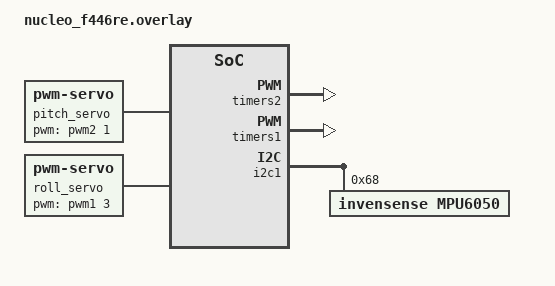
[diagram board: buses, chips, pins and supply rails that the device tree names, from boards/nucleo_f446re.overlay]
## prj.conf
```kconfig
CONFIG_GPIO=y
CONFIG_I2C=y
CONFIG_CBPRINTF_FP_SUPPORT=y
CONFIG_NEWLIB_LIBC=y
CONFIG_NEWLIB_LIBC_NANO=n

CONFIG_PWM=y
CONFIG_PRINTK=y
CONFIG_STDOUT_CONSOLE=y
```

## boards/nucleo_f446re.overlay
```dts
/ {
     pitch_servo: td8210mg1 {
          compatible = "pwm-servo";
          pwms = <&pwm2 1 PWM_MSEC(20) PWM_POLARITY_NORMAL>;
          min-pulse = <PWM_USEC(500)>;
          max-pulse = <PWM_USEC(2500)>;
     };

     roll_servo: td8210mg2 {
          compatible = "pwm-servo";
          pwms = <&pwm1 3 PWM_MSEC(20) PWM_POLARITY_NORMAL>;
          min-pulse = <PWM_USEC(500)>;
          max-pulse = <PWM_USEC(2500)>;
     };

};

&timers2{
    st,prescaler = <100>;
    status = "okay";

    pwm2: pwm {
          status = "okay";
          pinctrl-0 = <&tim2_ch1_pa5>;
          pinctrl-names = "default";
     };
};

&timers1{
     st,prescaler = <100>;
     status = "okay";

     pwm1: pwm {
          status = "okay";
          pinctrl-0 = <&tim1_ch3_pa10>;
          pinctrl-names = "default";
     };
};

&i2c1 {
     imu: mpu6050@68 {
             compatible = "invensense,mpu6050";
             label = "mpu6050";
             reg = <0x68>;
     };
};
```

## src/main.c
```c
/*
 * Copyright (c) 2016 Intel Corporation
 *
 * SPDX-License-Identifier: Apache-2.0
 */

/*
Arduino code, adapted for zephyr: https://mschoeffler.com/2017/10/05/tutorial-how-to-use-the-gy-521-module-mpu-6050-breakout-board-with-the-arduino-uno/
Following tutorial from here: https://academy.nordicsemi.com/topic/i2c-driver/
For complementary filter: https://www.hackster.io/hibit/complementary-filter-and-relative-orientation-with-mpu9250-d4f79d#toc-gyroscope-angles-3
Register map: https://invensense.tdk.com/wp-content/uploads/2015/02/MPU-6000-Register-Map1.pdf
Datasheet: https://invensense.tdk.com/wp-content/uploads/2015/02/MPU-6000-Datasheet1.pdf
*/

#include <zephyr/kernel.h>
#include <zephyr/drivers/gpio.h>
#include <zephyr/drivers/i2c.h>

#include <stdlib.h>

#include "kalmanfilter.h"
#include "complementaryfilter.h"
#include "servos.h"
#include "pid.h"

/* The devicetree node identifier for the MPU6050 imu */
#define I2C0_NODE DT_NODELABEL(imu)

//define MPU6050_TEMP_HIGH_REG 0x41
//define MPU6050_TEMP_LOW_REG 0x42
#define MPU6050_PWR_REG 0x6B
#define MPU6050_GYRO_CONFIG 0x1B
#define MPU6050_ACCEL_CONFIG 0x1C
#define LOW_PASS_FILTER_CONFIG 0x1A

#define tempLowRegister 0x42
#define tempHighRegister 0x41

#define gyroXHighRegister 0x43
#define gyroXLowRegister 0x44
#define gyroYHighRegister 0x45
#define gyroYLowRegister 0x46
#define gyroZHighRegister 0x47
#define gyroZLowRegister 0x48

#define accelXHighRegister 0x3B

static const struct i2c_dt_spec dev_i2c = I2C_DT_SPEC_GET(I2C0_NODE);

static float offsets[] = {1.33426739, -0.54700182, -0.77473574,  0.15876233,  1.22315467, 1.37050595};

int main(void)
{
	int ret;

	if (!device_is_ready(dev_i2c.bus)) {
		printk("I2C bus %s is not ready!\n\r",dev_i2c.bus->name);
		return 1;
	}

	//Configure
	uint8_t pwr[2] = {MPU6050_PWR_REG,0x0};
	ret = i2c_write_dt(&dev_i2c, pwr, sizeof(pwr));
	if(ret != 0){
		printk("Failed to write to I2C device address %x at Reg. %x \n", dev_i2c.addr,pwr[0]);
		return 0;
	}

	int8_t temp[2];
	int8_t gyro_reading[6];
	int8_t accel_reading[6];
	//uint8_t sensor_regs[2] ={MPU6050_TEMP_LOW_REG,MPU6050_TEMP_HIGH_REG};

	int success = 1;

	float trueTemp, trueTempF;
	float gyroX, gyroY, gyroZ, accelX, accelY, accelZ;

	//Write to address 1B to configure gyroscope
	uint8_t config[2] = {MPU6050_GYRO_CONFIG,0x6};
	ret = i2c_write_dt(&dev_i2c, config, sizeof(config));
	if(ret != 0){
		printk("Failed to write to I2C device address %x at Reg. %x \n", dev_i2c.addr,config[0]);
		return 0;
	}

	//Change config over to accel
	config[0] = MPU6050_ACCEL_CONFIG;
	ret = i2c_write_dt(&dev_i2c, config, sizeof(config));
	if(ret != 0){
		printk("Failed to write to I2C device address %x at Reg. %x \n", dev_i2c.addr,config[0]);
		return 0;
	}

	//Enable digital low pass filter (random setting idk, page 13 of register map)
	config[0] = LOW_PASS_FILTER_CONFIG;
	config[1] = 0x6;
	ret = i2c_write_dt(&dev_i2c, config, sizeof(config));
	if(ret != 0){
		printk("Failed to write to I2C device address %x at Reg. %x \n", dev_i2c.addr,config[0]);
		return 0;
	}

	int64_t current_time;
	int64_t prev_time = k_uptime_get();
	int64_t last_time = k_uptime_get();

	double pitch = 0;
	double roll = 0;

	float** P;
	initialize(&P, 4, 4);
	identity(P, 4);

	float** state_estimate;
	initialize(&state_estimate, 4, 1);

	float pidRollMotorOutput, pidPitchMotorOutput;

	double dt;
	int count = 0;

	setup_roll_servo();
	setup_pitch_servo();
	setupKalmanFilter();

	float pw1, pw2;

	while (1) {
		success = 1;
		ret = i2c_burst_read_dt(&dev_i2c, tempHighRegister, temp, sizeof(temp));
		if(ret != 0){
			printk("Failed to write/read I2C device address %x at Reg. %x \r\n", dev_i2c.addr, tempHighRegister);
			success = 0;
		}
		trueTemp = (float) (temp[0] * 256 + temp[1]) / 340 + 36.53;
		trueTempF = 1.8 * trueTemp + 32;

		ret = i2c_burst_read_dt(&dev_i2c, gyroXHighRegister, gyro_reading, sizeof(gyro_reading));
		if(ret != 0){
			printk("Failed to write/read I2C device address %x at Reg. %x \r\n", dev_i2c.addr, gyroXHighRegister);
			success = 0;
		}
		ret = i2c_burst_read_dt(&dev_i2c, accelXHighRegister, accel_reading, sizeof(accel_reading));
		if(ret != 0){
			printk("Failed to write/read I2C device address %x at Reg. %x \r\n", dev_i2c.addr, accelXHighRegister);
			success = 0;
		}

		gyroX = (float) gyro_reading[0] * 256 + gyro_reading[1];
		gyroY = (float) gyro_reading[2] * 256 + gyro_reading[3];
		gyroZ = (float) gyro_reading[4] * 256 + gyro_reading[5];

		gyroX /= 131;
		gyroY /= 131;
		gyroZ /= 131;

		accelX = (float) accel_reading[0] * 256 + accel_reading[1];
		accelY = (float) accel_reading[2] * 256 + accel_reading[3];
		accelZ = (float) accel_reading[4] * 256 + accel_reading[5];

		accelX /= 16384;
		accelY /= 16384;
		accelZ /= 16384;

		accelX *= g;
		accelY *= g;
		accelZ *= g;

		gyroX += offsets[0];
		gyroY += offsets[1];
		gyroZ += offsets[2];
		accelX += offsets[3];
		accelY += offsets[4];
		accelZ += offsets[5];

		gyroX *= PI / 180.;
		gyroY *= PI / 180.;
		gyroZ *= PI / 180.;

		//Round all to nearest 2 decimal places
		accelX = roundf(accelX * 100) / 100;
		accelY = roundf(accelY * 100) / 100;
		accelZ = roundf(accelZ * 100) / 100;

		gyroX = roundf(gyroX * 100) / 100;
		gyroY = roundf(gyroY * 100) / 100;
		gyroZ = roundf(gyroZ * 100) / 100;

		//printk("started!\n");
		if(success){
			//printk("Angular velocity:\nX: %f\nY: %f\nZ: %f\nAcceleration:\nX: %f\nY: %f\nZ: %f\nFahrenheit: %f; Celsius: %f; %d %d\n", gyroX, gyroY, gyroZ, accelX, accelY, accelZ, trueTempF, trueTemp, temp[0], temp[1]);
			current_time = k_uptime_get();
			dt = (double) (current_time - prev_time) / 1000;
			prev_time = current_time;

			estimate(gyroX, gyroY, gyroZ, accelX, accelY, accelZ, &roll, &pitch, dt, P, state_estimate, count);

			pidRollMotorOutput = pidRoll(roll * 180 / PI, dt);
			pidPitchMotorOutput = pidPitch(pitch * 180 / PI, dt);

			pw1 = move_roll_servo(pidRollMotorOutput);
			pw2 = move_pitch_servo(-pidPitchMotorOutput);

			//printk("%d\n", success);
			if(current_time - last_time > 500){
				printk("Roll: %.1lf | Pitch: %.1lf | PID roll output: %.2f | Roll pulse width: %.1f | PID pitch output: %.2f | Pitch pulse width: %.1f\n", roll * 180 / PI, pitch * 180 / PI, pidRollMotorOutput, pw1, pidPitchMotorOutput, pw2);
				last_time = current_time;
			}
		}
		//k_msleep(500);
	}
	return 0;
}
```

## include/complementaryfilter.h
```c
#include "helpermath.h"

double predictPitchAccel(float ax, float ay, float az);

double predictRollAccel(float ax, float ay, float az);

double calculatePitchRate(double pitch, double roll, float gyroX, float gyroY, float gyroZ);

double calculateRollRate(double pitch, double roll, float gyroX, float gyroY, float gyroZ);

double calculatePitch(float gyroX, float gyroY, float gyroZ, float accelX, float accelY, float accelZ, double pitch, double roll, double dt);

double calculateRoll(float gyroX, float gyroY, float gyroZ, float accelX, float accelY, float accelZ, double pitch, double roll, double dt);
```

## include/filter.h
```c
/*
 * filter.h
 *
 * Copyright (c) 2018 Disi A
 * 
 * Author: Disi A
 * Email: adis@live.cn
 *  https://www.mathworks.com/matlabcentral/profile/authors/3734620-disi-a
 */
#include "helpermath.h"

#ifndef filter_h
#define filter_h

#if __cplusplus
extern "C"{
#endif

#define DOUBLE_PRECISION 1

#if DOUBLE_PRECISION
#define FTR_PRECISION double
#if defined(_WIN32) || defined(__ZEPHYR__)
#define M_PI 3.141592653589793238462643383279502884197163993751
#endif
#else
#define FTR_PRECISION float
#if defined(_WIN32) || defined(__ZEPHYR__)
#define M_PI 3.1415927f
#endif
#endif

typedef struct {
    int n;
	FTR_PRECISION *A;
    FTR_PRECISION *d1;
    FTR_PRECISION *d2;
    FTR_PRECISION *w0;
    FTR_PRECISION *w1;
    FTR_PRECISION *w2;
} BWLowPass;
// BWHighPass uses exactly the same struct
typedef BWLowPass BWHighPass;

typedef struct {
    int n;
	FTR_PRECISION *A;
    FTR_PRECISION *d1;
    FTR_PRECISION *d2;
    FTR_PRECISION *d3;
    FTR_PRECISION *d4;
    FTR_PRECISION *w0;
    FTR_PRECISION *w1;
    FTR_PRECISION *w2;
    FTR_PRECISION *w3;
    FTR_PRECISION *w4;
} BWBandPass;

typedef struct {
    int n;
    FTR_PRECISION r;
    FTR_PRECISION s;
	FTR_PRECISION *A;
    FTR_PRECISION *d1;
    FTR_PRECISION *d2;
    FTR_PRECISION *d3;
    FTR_PRECISION *d4;
    FTR_PRECISION *w0;
    FTR_PRECISION *w1;
    FTR_PRECISION *w2;
    FTR_PRECISION *w3;
    FTR_PRECISION *w4;
} BWBandStop;


BWLowPass* create_bw_low_pass_filter(int order, FTR_PRECISION sampling_frequency, FTR_PRECISION half_power_frequency);
BWHighPass* create_bw_high_pass_filter(int order, FTR_PRECISION sampling_frequency, FTR_PRECISION half_power_frequency);
BWBandPass* create_bw_band_pass_filter(int order, FTR_PRECISION sampling_frequency, FTR_PRECISION lower_half_power_frequency, FTR_PRECISION upper_half_power_frequency);
BWBandStop* create_bw_band_stop_filter(int order, FTR_PRECISION sampling_frequency, FTR_PRECISION lower_half_power_frequency, FTR_PRECISION upper_half_power_frequency);

void free_bw_low_pass(BWLowPass* filter);
void free_bw_high_pass(BWHighPass* filter);
void free_bw_band_pass(BWBandPass* filter);
void free_bw_band_stop(BWBandStop* filter);

FTR_PRECISION bw_low_pass(BWLowPass* filter, FTR_PRECISION input);
FTR_PRECISION bw_high_pass(BWHighPass* filter, FTR_PRECISION input);
FTR_PRECISION bw_band_pass(BWBandPass* filter, FTR_PRECISION input);
FTR_PRECISION bw_band_stop(BWBandStop* filter, FTR_PRECISION input);

FTR_PRECISION softmax(FTR_PRECISION* data, int size, int target_ind);

// Output should be pre-allocated which has the same(or larger) size as the input.
void spike_filter_upward(FTR_PRECISION * input, int size, FTR_PRECISION * output, FTR_PRECISION strength);

#if __cplusplus
}
#endif

#endif /* filter_h */
```

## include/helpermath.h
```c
#include <stdlib.h>
#include <math.h>

#define alpha 0.1
#define PI 3.141592653589
#define g 9.81

float calculateSin(float angle);

float calculateCos(float angle);

float calculateTangent(float angle);

float roundFloat(float i, int place);
```

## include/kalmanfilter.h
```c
#include "matrix.h"
#include "complementaryfilter.h"

struct attitude{
	float pitch;
	float roll;
};

void estimate (float gyroX, float gyroY, float gyroZ, float accelX, float accelY, float accelZ, double* roll, double* pitch, double dt, float** P, float** state_estimate, int count);

void setupKalmanFilter();
```

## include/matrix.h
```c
#include <stdbool.h>

#include "helpermath.h"

void initialize(float*** matrix, int height, int width);

void identity(float** matrix, int dim);

void addMatrices(float** matrix1, float** matrix2, int height, int width, bool positive);

bool dotProduct(float** resultant, float** matrix1, int height1, int width1, float** matrix2, int height2, int width2);

void transpose(float** resultant, float** matrix, int height, int width);

void printMatrix(float** matrix, int height, int width);

void inverse2X2(float** matrix, float** resultant);

void zero(float** matrix, int height, int width);

void copy(float** matrix1, float** matrix2, int height, int width);
```

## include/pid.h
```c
float pidPitch(float current, double dT);

float pidRoll(float current, double dT);
```

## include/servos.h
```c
#include <zephyr/kernel.h>
#include <zephyr/sys/printk.h>
#include <zephyr/device.h>
#include <zephyr/drivers/pwm.h>


void setup_roll_servo();
void setup_pitch_servo();

float move_roll_servo(float PID_output);
float move_pitch_servo(float PID_output);
```

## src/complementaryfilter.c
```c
//Taken from this video: https://www.youtube.com/watch?v=BUW2OdAtzBw
//And this tutorial: https://www.hackster.io/hibit/complementary-filter-and-relative-orientation-with-mpu9250-d4f79d
#include "complementaryfilter.h"

double predictPitchAccel(float ax, float ay, float az){
	//double pitch = atan2(ax, g);
	double magnitude = sqrt( pow( ax, 2 ) + pow( az, 2 ) );
	double pitch = atan2(ay, magnitude);
	return pitch;
}

double predictRollAccel(float ax, float ay, float az){
	//double roll = atan2(ay, az);
	double magnitude = sqrt( pow( ay, 2 ) + pow( az, 2 ) );
	double roll = atan2(-ax, magnitude);
	return roll;
}

double calculateRollRate(double pitch, double roll, float gyroX, float gyroY, float gyroZ){
	double a = 1;
	double b = calculateSin(roll) * calculateTangent(pitch);
	double c = calculateCos(roll) * calculateTangent(pitch);

	double rollRate = a * gyroX + b * gyroY + c * gyroZ;
	return rollRate;
}

double calculatePitchRate(double pitch, double roll, float gyroX, float gyroY, float gyroZ){
	//double a = 0;
	double b = calculateCos(roll);
	double c = -calculateSin(roll);

	//double pitchRate = a * gyroX + b * gyroY + c * gyroZ;
	double pitchRate = b * gyroY + c * gyroZ;
	return pitchRate;
}

double calculateRoll(float gyroX, float gyroY, float gyroZ, float accelX, float accelY, float accelZ, double pitch, double roll, double dt){
	double accelRoll = predictRollAccel(accelX, accelY, accelZ);
	double rollRate = calculateRollRate(pitch, roll, gyroX, gyroY, gyroZ);
	roll = alpha * accelRoll + (1 - alpha) * (roll + dt * rollRate);
	
	return roll;
}

double calculatePitch(float gyroX, float gyroY, float gyroZ, float accelX, float accelY, float accelZ, double pitch, double roll, double dt){
	double accelPitch = predictPitchAccel(accelX, accelY, accelZ);
	double pitchRate = calculatePitchRate(pitch, roll, gyroX, gyroY, gyroZ);
	pitch = alpha * accelPitch + (1 - alpha) * (pitch + dt * pitchRate);
	
	return pitch;
}
```

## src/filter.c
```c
/*
 * filter.c
 *
 * Copyright (c) 2018 Disi A
 * 
 * Author: Disi A
 * Email: adis@live.cn
 *  https://www.mathworks.com/matlabcentral/profile/authors/3734620-disi-a
 */
#include <stdlib.h>
#include <stdio.h>
#include <string.h>
#include "filter.h"
#include <stddef.h>

#if DOUBLE_PRECISION
#define COS cos
#define SIN sin
#define TAN tan
#define SQRT sqrt
#define LOG log
#else
#define COS cosf
#define SIN sinf
#define TAN tanf
#define SQRT sqrtf
#define LOG logf
#endif

BWLowPass* create_bw_low_pass_filter(int order, FTR_PRECISION s, FTR_PRECISION f) {
    BWLowPass* filter = (BWLowPass *) malloc(sizeof(BWLowPass));
    filter -> n = order/2;
    filter -> A = (FTR_PRECISION *)malloc(filter -> n*sizeof(FTR_PRECISION));
    filter -> d1 = (FTR_PRECISION *)malloc(filter -> n*sizeof(FTR_PRECISION));
    filter -> d2 = (FTR_PRECISION *)malloc(filter -> n*sizeof(FTR_PRECISION));
    filter -> w0 = (FTR_PRECISION *)calloc(filter -> n, sizeof(FTR_PRECISION));
    filter -> w1 = (FTR_PRECISION *)calloc(filter -> n, sizeof(FTR_PRECISION));
    filter -> w2 = (FTR_PRECISION *)calloc(filter -> n, sizeof(FTR_PRECISION));
    
    if (filter->d2 == NULL)
    {
        free_bw_low_pass(filter);
        return NULL;
    }

    FTR_PRECISION a = calculateTangent((FTR_PRECISION)(M_PI * f / s));
    FTR_PRECISION a2 = a * a;
    FTR_PRECISION r;
    
    int i;
    
    for(i=0; i < filter -> n; ++i){
        r = calculateSin((FTR_PRECISION)(M_PI * (2.0 * i + 1.0) / (4.0 * filter->n)));
        s = (FTR_PRECISION) (a2 + 2.0 * a * r + 1.0);
        filter->A[i] = a2 / s;
        filter->d1[i] = (FTR_PRECISION) (2.0 * (1 - a2) / s);
        filter->d2[i] = (FTR_PRECISION)(-(a2 - 2.0 * a * r + 1.0) / s);
    }
    return filter;
}

BWHighPass* create_bw_high_pass_filter(int order, FTR_PRECISION s, FTR_PRECISION f){
    BWHighPass* filter = (BWHighPass *) malloc(sizeof(BWHighPass));
    filter -> n = order/2;
    filter -> A = (FTR_PRECISION *)malloc(filter -> n*sizeof(FTR_PRECISION));
    filter -> d1 = (FTR_PRECISION *)malloc(filter -> n*sizeof(FTR_PRECISION));
    filter -> d2 = (FTR_PRECISION *)malloc(filter -> n*sizeof(FTR_PRECISION));
    filter -> w0 = (FTR_PRECISION *)calloc(filter -> n, sizeof(FTR_PRECISION));
    filter -> w1 = (FTR_PRECISION *)calloc(filter -> n, sizeof(FTR_PRECISION));
    filter -> w2 = (FTR_PRECISION *)calloc(filter -> n, sizeof(FTR_PRECISION));

    if (filter->d2 == NULL)
    {
        free_bw_high_pass(filter);
        return NULL;
    }

    FTR_PRECISION a = calculateTangent((FTR_PRECISION) (M_PI * f/s));
    FTR_PRECISION a2 = a * a;
    FTR_PRECISION r;
    
    int i;

    for(i=0; i < filter -> n; ++i){
        r = calculateSin((FTR_PRECISION)(M_PI * (2.0 * i + 1.0) / ( 4.0 * filter->n)));
        s = (FTR_PRECISION) (a2 + 2.0 * a * r + 1.0);
        filter -> A[i] = (FTR_PRECISION) (1.0 / s);
        filter -> d1[i] = (FTR_PRECISION) (2.0 * (1 - a2) / s);
        filter -> d2[i] = (FTR_PRECISION) (- (a2 - 2.0 * a * r + 1.0) / s);
    }
    return filter;
}

BWBandPass* create_bw_band_pass_filter(int order, FTR_PRECISION s, FTR_PRECISION fl, FTR_PRECISION fu){
    if(fu <= fl){
        printf("ERROR:Lower half-power frequency is smaller than higher half-power frequency");
        return NULL;
    }
    BWBandPass* filter = (BWBandPass *) malloc(sizeof(BWBandPass));
    filter -> n = order/4;
    filter -> A = (FTR_PRECISION *)malloc(filter -> n*sizeof(FTR_PRECISION));
    filter -> d1 = (FTR_PRECISION *)malloc(filter -> n*sizeof(FTR_PRECISION));
    filter -> d2 = (FTR_PRECISION *)malloc(filter -> n*sizeof(FTR_PRECISION));
    filter -> d3 = (FTR_PRECISION *)malloc(filter -> n*sizeof(FTR_PRECISION));
    filter -> d4 = (FTR_PRECISION *)malloc(filter -> n*sizeof(FTR_PRECISION));

    filter -> w0 = (FTR_PRECISION *)calloc(filter -> n, sizeof(FTR_PRECISION));
    filter -> w1 = (FTR_PRECISION *)calloc(filter -> n, sizeof(FTR_PRECISION));
    filter -> w2 = (FTR_PRECISION *)calloc(filter -> n, sizeof(FTR_PRECISION));
    filter -> w3 = (FTR_PRECISION *)calloc(filter -> n, sizeof(FTR_PRECISION));
    filter -> w4 = (FTR_PRECISION *)calloc(filter -> n, sizeof(FTR_PRECISION));

  
    FTR_PRECISION a = calculateCos(M_PI*(fu+fl)/s)/calculateCos(M_PI*(fu-fl)/s);
    FTR_PRECISION a2 = a*a;
    FTR_PRECISION b = calculateTangent(M_PI*(fu-fl)/s);
    FTR_PRECISION b2 = b*b;
    FTR_PRECISION r;
    int i;
    for(i=0; i<filter->n; ++i){
        r = calculateSin( (FTR_PRECISION) (M_PI * (2.0 * i + 1.0) / (4.0 * filter->n)));
        s = (FTR_PRECISION)(b2 + 2.0 * b * r + 1.0);
        filter->A[i] = b2/s;
        filter->d1[i] = (FTR_PRECISION) (4.0 * a * (1.0 + b * r) / s);
        filter->d2[i] = (FTR_PRECISION) (2.0 * (b2 - 2.0 * a2 - 1.0)/ s);
        filter->d3[i] = (FTR_PRECISION) (4.0 * a * (1.0 - b * r ) / s);
        filter->d4[i] = (FTR_PRECISION) (- (b2 - 2.0 * b * r + 1.0) / s);
    }
    return filter;
}

BWBandStop* create_bw_band_stop_filter(int order, FTR_PRECISION s, FTR_PRECISION fl, FTR_PRECISION fu){
    if(fu <= fl){
        printf("ERROR:Lower half-power frequency is smaller than higher half-power frequency");
        return NULL;
    }

    BWBandStop* filter = (BWBandStop *) malloc(sizeof(BWBandStop));
    filter -> n = order/4;
    filter -> A = (FTR_PRECISION *)malloc(filter -> n*sizeof(FTR_PRECISION));
    filter -> d1 = (FTR_PRECISION *)malloc(filter -> n*sizeof(FTR_PRECISION));
    filter -> d2 = (FTR_PRECISION *)malloc(filter -> n*sizeof(FTR_PRECISION));
    filter -> d3 = (FTR_PRECISION *)malloc(filter -> n*sizeof(FTR_PRECISION));
    filter -> d4 = (FTR_PRECISION *)malloc(filter -> n*sizeof(FTR_PRECISION));

    filter -> w0 = (FTR_PRECISION *)calloc(filter -> n, sizeof(FTR_PRECISION));
    filter -> w1 = (FTR_PRECISION *)calloc(filter -> n, sizeof(FTR_PRECISION));
    filter -> w2 = (FTR_PRECISION *)calloc(filter -> n, sizeof(FTR_PRECISION));
    filter -> w3 = (FTR_PRECISION *)calloc(filter -> n, sizeof(FTR_PRECISION));
    filter -> w4 = (FTR_PRECISION *)calloc(filter -> n, sizeof(FTR_PRECISION));

    FTR_PRECISION a = calculateCos(M_PI*(fu+fl)/s)/calculateCos(M_PI*(fu-fl)/s);
    FTR_PRECISION a2 = a*a;
    FTR_PRECISION b = calculateTangent(M_PI*(fu-fl)/s);
    FTR_PRECISION b2 = b*b;
    FTR_PRECISION r;

    int i;
    for(i=0; i<filter->n; ++i){
        r = calculateSin((FTR_PRECISION) (M_PI * (2.0 * i + 1.0 ) / ( 4.0 * filter->n)));
        s = (FTR_PRECISION) (b2 + 2.0 * b * r + 1.0);
        filter->A[i] = (FTR_PRECISION) (1.0 / s);
        filter->d1[i] = (FTR_PRECISION) (4.0 * a * (1.0 + b * r ) / s);
        filter->d2[i] = (FTR_PRECISION) (2.0 * (b2 - 2.0 * a2- 1.0) / s);
        filter->d3[i] = (FTR_PRECISION) (4.0 * a * (1.0 - b * r) / s);
        filter->d4[i] = (FTR_PRECISION) (- (b2 - 2.0 * b * r + 1.0) / s);
    }
    filter->r = (FTR_PRECISION) (4.0 * a);
    filter->s = (FTR_PRECISION) (4.0 * a2 + 2.0);
    return filter;
}


void free_bw_low_pass(BWLowPass* filter){
    free(filter -> A);
    free(filter -> d1);
    free(filter -> d2);
    free(filter -> w0);
    free(filter -> w1);
    free(filter -> w2);
    free(filter);
}
void free_bw_high_pass(BWHighPass* filter){
    free(filter -> A);
    free(filter -> d1);
    free(filter -> d2);
    free(filter -> w0);
    free(filter -> w1);
    free(filter -> w2);
    free(filter);
}
void free_bw_band_pass(BWBandPass* filter){
    free(filter -> A);
    free(filter -> d1);
    free(filter -> d2);
    free(filter -> d3);
    free(filter -> d4);
    free(filter -> w0);
    free(filter -> w1);
    free(filter -> w2);
    free(filter -> w3);
    free(filter -> w4);
    free(filter);
}
void free_bw_band_stop(BWBandStop* filter){
    free(filter -> A);
    free(filter -> d1);
    free(filter -> d2);
    free(filter -> d3);
    free(filter -> d4);
    free(filter -> w0);
    free(filter -> w1);
    free(filter -> w2);
    free(filter -> w3);
    free(filter -> w4);
    free(filter);
}

FTR_PRECISION bw_low_pass(BWLowPass* filter, FTR_PRECISION x){
    int i;
    for(i=0; i<filter->n; ++i){
        filter->w0[i] = filter->d1[i]*filter->w1[i] + filter->d2[i]*filter->w2[i] + x;
        x = filter->A[i] * (filter->w0[i] + 2.0f * filter->w1[i] + filter->w2[i]);
        filter->w2[i] = filter->w1[i];
        filter->w1[i] = filter->w0[i];
    }
    return x;
}
FTR_PRECISION bw_high_pass(BWHighPass* filter, FTR_PRECISION x){
    int i;
    for(i=0; i<filter->n; ++i){
        filter->w0[i] = filter->d1[i]*filter->w1[i] + filter->d2[i]*filter->w2[i] + x;
        x = filter->A[i] * (filter->w0[i] - 2.0f * filter->w1[i] + filter->w2[i]);
        filter->w2[i] = filter->w1[i];
        filter->w1[i] = filter->w0[i];
    }
    return x;
}
FTR_PRECISION bw_band_pass(BWBandPass* filter, FTR_PRECISION x){
    int i;
    for(i=0; i<filter->n; ++i){
        filter->w0[i] = filter->d1[i]*filter->w1[i] + filter->d2[i]*filter->w2[i]+ filter->d3[i]*filter->w3[i]+ filter->d4[i]*filter->w4[i] + x;
        x = filter->A[i] * (filter->w0[i] - 2.0f * filter->w2[i] + filter->w4[i]);
        filter->w4[i] = filter->w3[i];
        filter->w3[i] = filter->w2[i];
        filter->w2[i] = filter->w1[i];
        filter->w1[i] = filter->w0[i];
    }
    return x;
}
FTR_PRECISION bw_band_stop(BWBandStop* filter, FTR_PRECISION x){
    int i;
    for(i=0; i<filter->n; ++i){
        filter->w0[i] = filter->d1[i]*filter->w1[i] + filter->d2[i]*filter->w2[i]+ filter->d3[i]*filter->w3[i]+ filter->d4[i]*filter->w4[i] + x;
        x = filter->A[i]*(filter->w0[i] - filter->r*filter->w1[i] + filter->s*filter->w2[i]- filter->r*filter->w3[i] + filter->w4[i]);
        filter->w4[i] = filter->w3[i];
        filter->w3[i] = filter->w2[i];
        filter->w2[i] = filter->w1[i];
        filter->w1[i] = filter->w0[i];
    }
    return x;
}

FTR_PRECISION softmax(FTR_PRECISION* data, int size, int target_ind){
    FTR_PRECISION sum = 0;
    for(int i = 0; i < size; i++) sum += data[i];
    return data[target_ind]/sum;
}

static const FTR_PRECISION SPIKE_KERNEL[] = {-1.0, 2.0, -1.0};
void spike_filter_upward(FTR_PRECISION * input, int size, FTR_PRECISION * output, FTR_PRECISION strength){
    FTR_PRECISION mean = 0.0;
    FTR_PRECISION std = 0.0;
    FTR_PRECISION diff = 0.0;
    for(int i=0; i < size; i++) mean += input[i];
    mean /= size;

    for(int i=0; i < size; i++){
        diff = input[i] - mean;
        std += diff * diff;
    }
    std = SQRT(std/size);
      
    output[0] = 0.0;
    output[size - 1] = 0.0;
    for(int i=1; i<size-1; i++){
        FTR_PRECISION val = input[i-1] * SPIKE_KERNEL[0] + input[i] * SPIKE_KERNEL[1] + input[i+1] * SPIKE_KERNEL[2];
        if(val < strength * std) output[i] = 0.0;
        else output[i] = val;
    }
}
```

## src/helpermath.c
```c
//Bunch of math helper functions (sin, cos, tan & tables for quick access)

#include "helpermath.h"

float sin_lookup[] = {0.        ,  0.00999983,  0.01999867,  0.0299955 ,  0.03998933,
        0.04997917,  0.05996401,  0.06994285,  0.07991469,  0.08987855,
        0.09983342,  0.1097783 ,  0.11971221,  0.12963414,  0.13954311,
        0.14943813,  0.15931821,  0.16918235,  0.17902957,  0.18885889,
        0.19866933,  0.2084599 ,  0.21822962,  0.22797752,  0.23770263,
        0.24740396,  0.25708055,  0.26673144,  0.27635565,  0.28595223,
        0.29552021,  0.30505864,  0.31456656,  0.32404303,  0.33348709,
        0.34289781,  0.35227423,  0.36161543,  0.37092047,  0.38018842,
        0.38941834,  0.39860933,  0.40776045,  0.4168708 ,  0.42593947,
        0.43496553,  0.44394811,  0.45288629,  0.46177918,  0.47062589,
        0.47942554,  0.48817725,  0.49688014,  0.50553334,  0.51413599,
        0.52268723,  0.5311862 ,  0.53963205,  0.54802394,  0.55636102,
        0.56464247,  0.57286746,  0.58103516,  0.58914476,  0.59719544,
        0.60518641,  0.61311685,  0.62098599,  0.62879302,  0.63653718,
        0.64421769,  0.65183377,  0.65938467,  0.66686964,  0.67428791,
        0.68163876,  0.68892145,  0.69613524,  0.70327942,  0.71035327,
        0.71735609,  0.72428717,  0.73114583,  0.73793137,  0.74464312,
        0.75128041,  0.75784256,  0.76432894,  0.77073888,  0.77707175,
        0.78332691,  0.78950374,  0.79560162,  0.80161994,  0.8075581 ,
        0.8134155 ,  0.81919157,  0.82488571,  0.83049737,  0.83602598,
        0.84147098,  0.84683184,  0.85210802,  0.85729899,  0.86240423,
        0.86742323,  0.87235548,  0.8772005 ,  0.88195781,  0.88662691,
        0.89120736,  0.89569869,  0.90010044,  0.90441219,  0.9086335 ,
        0.91276394,  0.91680311,  0.9207506 ,  0.92460601,  0.92836897,
        0.93203909,  0.935616  ,  0.93909936,  0.9424888 ,  0.945784  ,
        0.94898462,  0.95209034,  0.95510086,  0.95801586,  0.96083506,
        0.96355819,  0.96618495,  0.9687151 ,  0.97114838,  0.97348454,
        0.97572336,  0.9778646 ,  0.97990806,  0.98185353,  0.98370081,
        0.98544973,  0.9871001 ,  0.98865176,  0.99010456,  0.99145835,
        0.99271299,  0.99386836,  0.99492435,  0.99588084,  0.99673775,
        0.99749499,  0.99815247,  0.99871014,  0.99916795,  0.99952583,
        0.99978376,  0.99994172,  0.99999968,  0.99995765,  0.99981562,
        0.9995736 ,  0.99923163,  0.99878974,  0.99824797,  0.99760638,
        0.99686503,  0.99602399,  0.99508335,  0.9940432 ,  0.99290365,
        0.99166481,  0.9903268 ,  0.98888977,  0.98735384,  0.98571918,
        0.98398595,  0.98215432,  0.98022447,  0.97819661,  0.97607092,
        0.97384763,  0.97152696,  0.96910913,  0.96659439,  0.963983  ,
        0.9612752 ,  0.95847128,  0.95557152,  0.95257619,  0.94948561,
        0.94630009,  0.94301993,  0.93964547,  0.93617705,  0.93261501,
        0.92895972,  0.92521152,  0.92137081,  0.91743796,  0.91341336,
        0.90929743,  0.90509056,  0.90079319,  0.89640574,  0.89192865,
        0.88736237,  0.88270735,  0.87796406,  0.87313298,  0.86821458,
        0.86320937,  0.85811783,  0.85294048,  0.84767784,  0.84233043,
        0.83689879,  0.83138346,  0.82578499,  0.82010395,  0.81434089,
        0.8084964 ,  0.80257107,  0.79656547,  0.79048022,  0.78431593,
        0.7780732 ,  0.77175266,  0.76535495,  0.75888071,  0.75233058,
        0.74570521,  0.73900528,  0.73223144,  0.72538439,  0.71846479,
        0.71147335,  0.70441077,  0.69727774,  0.69007498,  0.68280322,
        0.67546318,  0.66805559,  0.6605812 ,  0.65304075,  0.645435  ,
        0.6377647 ,  0.63003063,  0.62223356,  0.61437426,  0.60645352,
        0.59847214,  0.59043092,  0.58233065,  0.57417215,  0.56595623,
        0.55768372,  0.54935544,  0.54097222,  0.53253491,  0.52404434,
        0.51550137,  0.50690685,  0.49826164,  0.48956661,  0.48082261,
        0.47203054,  0.46319126,  0.45430567,  0.44537464,  0.43639908,
        0.42737988,  0.41831794,  0.40921417,  0.40006948,  0.39088478,
        0.38166099,  0.37239904,  0.36309985,  0.35376435,  0.34439347,
        0.33498815,  0.32554933,  0.31607796,  0.30657499,  0.29704135,
        0.28747801,  0.27788593,  0.26826605,  0.25861935,  0.24894679,
        0.23924933,  0.22952795,  0.21978361,  0.2100173 ,  0.20022998,
        0.19042265,  0.18059627,  0.17075183,  0.16089031,  0.15101271,
        0.14112001,  0.13121319,  0.12129326,  0.11136119,  0.10141799,
        0.09146464,  0.08150215,  0.07153151,  0.06155372,  0.05156977,
        0.04158066,  0.0315874 ,  0.02159098,  0.01159239,  0.00159265,
       -0.00840725, -0.01840631, -0.02840353, -0.0383979 , -0.04838844,
       -0.05837414, -0.06835401, -0.07832703, -0.08829223, -0.09824859,
       -0.10819513, -0.11813086, -0.12805476, -0.13796587, -0.14786317,
       -0.15774569, -0.16761244, -0.17746242, -0.18729466, -0.19710817,
       -0.20690197, -0.21667508, -0.22642652, -0.23615532, -0.2458605 ,
       -0.2555411 , -0.26519615, -0.27482467, -0.28442571, -0.29399831,
       -0.30354151, -0.31305436, -0.3225359 , -0.33198519, -0.34140128,
       -0.35078323, -0.3601301 , -0.36944096, -0.37871487, -0.38795092,
       -0.39714817, -0.4063057 , -0.41542261, -0.42449797, -0.43353088,
       -0.44252044, -0.45146575, -0.46036591, -0.46922004, -0.47802725,
       -0.48678665, -0.49549737, -0.50415855, -0.51276931, -0.52132879,
       -0.52983614, -0.53829051, -0.54669105, -0.55503692, -0.56332728,
       -0.57156132, -0.5797382 , -0.5878571 , -0.59591722, -0.60391775,
       -0.61185789, -0.61973684, -0.62755382, -0.63530805, -0.64299874,
       -0.65062514, -0.65818647, -0.66568199, -0.67311093, -0.68047257,
       -0.68776616, -0.69499097, -0.70214629, -0.70923139, -0.71624557,
       -0.72318812, -0.73005836, -0.73685559, -0.74357914, -0.75022833,
       -0.7568025 , -0.76330098, -0.76972314, -0.77606833, -0.78233591,
       -0.78852525, -0.79463575, -0.80066678, -0.80661775, -0.81248805,
       -0.81827711, -0.82398434, -0.82960917, -0.83515105, -0.8406094 ,
       -0.8459837 , -0.8512734 , -0.85647797, -0.8615969 , -0.86662967,
       -0.87157577, -0.87643472, -0.88120603, -0.88588921, -0.89048381,
       -0.89498936, -0.89940541, -0.90373152, -0.90796726, -0.9121122 ,
       -0.91616594, -0.92012805, -0.92399816, -0.92777586, -0.93146079,
       -0.93505258, -0.93855086, -0.94195528, -0.94526551, -0.94848122,
       -0.95160207, -0.95462777, -0.95755801, -0.96039249, -0.96313093,
       -0.96577306, -0.96831861, -0.97076734, -0.97311898, -0.97537332,
       -0.97753012, -0.97958916, -0.98155025, -0.98341319, -0.98517778,
       -0.98684386, -0.98841125, -0.98987981, -0.99124937, -0.99251981,
       -0.993691  , -0.99476283, -0.99573517, -0.99660795, -0.99738106,
       -0.99805444, -0.99862801, -0.99910172, -0.99947552, -0.99974938,
       -0.99992326, -0.99999715, -0.99997104, -0.99984493, -0.99961884,
       -0.99929279, -0.99886681, -0.99834094, -0.99771525, -0.99698978,
       -0.99616461, -0.99523983, -0.99421552, -0.99309179, -0.99186876,
       -0.99054654, -0.98912526, -0.98760507, -0.98598613, -0.98426858,
       -0.98245261, -0.9805384 , -0.97852613, -0.97641601, -0.97420825,
       -0.97190307, -0.9695007 , -0.96700138, -0.96440536, -0.9617129 ,
       -0.95892427, -0.95603975, -0.95305963, -0.9499842 , -0.94681378,
       -0.94354867, -0.94018921, -0.93673573, -0.93318858, -0.92954811,
       -0.92581468, -0.92198868, -0.91807047, -0.91406047, -0.90995905,
       -0.90576664, -0.90148366, -0.89711052, -0.89264768, -0.88809557,
       -0.88345466, -0.87872539, -0.87390826, -0.86900374, -0.86401232,
       -0.85893449, -0.85377078, -0.84852169, -0.84318774, -0.83776948,
       -0.83226744, -0.82668218, -0.82101425, -0.81526421, -0.80943266,
       -0.80352016, -0.7975273 , -0.7914547 , -0.78530295, -0.77907267,
       -0.77276449, -0.76637903, -0.75991693, -0.75337884, -0.74676541,
       -0.74007731, -0.7333152 , -0.72647976, -0.71957167, -0.71259163,
       -0.70554033, -0.69841847, -0.69122677, -0.68396595, -0.67663674,
       -0.66923986, -0.66177605, -0.65424608, -0.64665067, -0.6389906 ,
       -0.63126664, -0.62347955, -0.61563011, -0.6077191 , -0.59974733,
       -0.59171558, -0.58362466, -0.57547538, -0.56726855, -0.559005  ,
       -0.55068554, -0.54231102, -0.53388227, -0.52540013, -0.51686544,
       -0.50827908, -0.49964188, -0.49095472, -0.48221847, -0.473434  ,
       -0.46460218, -0.4557239 , -0.44680005, -0.43783152, -0.42881921,
       -0.41976402, -0.41066685, -0.40152861, -0.39235022, -0.3831326 ,
       -0.37387666, -0.36458334, -0.35525356, -0.34588825, -0.33648836,
       -0.32705481, -0.31758857, -0.30809056, -0.29856174, -0.28900307,
       -0.2794155 , -0.26979998, -0.26015749, -0.25048898, -0.24079543,
       -0.23107779, -0.22133704, -0.21157417, -0.20179013, -0.19198592,
       -0.1821625 , -0.17232088, -0.16246202, -0.15258691, -0.14269654,
       -0.13279191, -0.122874  , -0.11294379, -0.1030023 , -0.0930505 ,
       -0.0830894 , -0.07311999, -0.06314327, -0.05316024, -0.04317189,
       -0.03317922, -0.02318323, -0.01318493, -0.0031853};


float roundFloat(float i, int place){
	int rounded = round(i * pow(10, place));
	return (float) rounded * pow(10, -place);
}

float calculateSin(float angle){
	if(angle < 0){
		angle += 2 * PI;
	}
	int index = round(angle * 100);
	return sin_lookup[index];
}

float calculateCos(float angle){
	if(angle < 0){
		angle += 2 * PI;
	}
	float sine = calculateSin(angle);
	if(angle > 0.5 * PI && angle < 1.5 * PI){
		return -sqrt(1 - pow(sine, 2));
	}else{
		return sqrt(1 - pow(sine, 2));
	}
}

float calculateTangent(float angle){
	float sine = calculateSin(angle);
	float cosine = calculateCos(angle);

	return sine / cosine;
}
```

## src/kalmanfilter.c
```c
//Copied mostly from here: https://github.com/pms67/Attitude-Estimation/blob/master/kalman_imu.py
//And implemented in C

#include "kalmanfilter.h"

float** C;
float** Q;
float** R;
float** S;
float** K;

float** E;
float** F;

float** gyro_input;
float** y_tilde;
float** measurement;
float** intermediary_identity;

float** A;
float** B;

float** dot1;
float** dot2;
float** dot3;
float** dot4;
float** dot5;
float** dot6;
float** dot7;
float** dot8;
float** dot9;
float** dot10;
float** dot11;
float** dot12;

float** transpose1;
float** transpose2;
float** transpose3;

float** inverse1;

void setupKalmanFilter(){
	initialize(&C, 2, 4);
	initialize(&Q, 4, 4);
	initialize(&R, 2, 2);
	initialize(&S, 2, 2);
	initialize(&K, 4, 2);

	initialize(&gyro_input, 2, 1);
	initialize(&y_tilde, 2, 1);
	initialize(&measurement, 2, 1);
	initialize(&intermediary_identity, 4, 4);

	initialize(&E, 3, 3);
	initialize(&F, 3, 3);

	identity(E, 3);
	identity(F, 3);

	initialize(&A, 4, 4);
	initialize(&B, 4, 2);

	C[0][0] = 1;
	C[1][2] = 1;

	identity(Q, 4);
	identity(R, 2);

	initialize(&dot1, 4, 4);
	initialize(&dot2, 4, 1);
	initialize(&dot3, 4, 4);
	initialize(&dot4, 4, 4);
	initialize(&dot5, 2, 1);
	initialize(&dot6, 4, 2);
	initialize(&dot7, 2, 2);
	initialize(&dot8, 2, 2);
	initialize(&dot8, 4, 2);
	initialize(&dot9, 4, 1);
	initialize(&dot10, 4, 4);
	initialize(&dot11, 4, 4);

	initialize(&transpose1, 4, 4);
	initialize(&transpose2, 4, 2);
	initialize(&transpose3, 4, 2);

	initialize(&inverse1, 2, 2);
}

void estimate (float gyroX, float gyroY, float gyroZ, float accelX, float accelY, float accelZ, double* roll, double* pitch, double dt, float** P, float** state_estimate, int count){
	double accelRoll = predictRollAccel(accelX, accelY, accelZ);
	double rollRate = calculateRollRate(*pitch, *roll, gyroX, gyroY, gyroZ);

	double accelPitch = predictPitchAccel(accelX, accelY, accelZ);
	double pitchRate = calculatePitchRate(*pitch, *roll, gyroX, gyroY, gyroZ);

	A[0][0] = 1;
	A[0][1] = -dt;
	A[1][1] = 1;
	A[2][2] = 1;
	A[2][3] = -dt;
	A[3][3] = 1;

	B[0][0] = dt;
	B[2][1] = dt;

	gyro_input[0][0] = rollRate;
	gyro_input[1][0] = pitchRate;
	
	dotProduct(dot1, A, 4, 4, state_estimate, 4, 1);
	dotProduct(dot2, B, 4, 2, gyro_input, 2, 1);

	addMatrices(dot1, dot2, 4, 1, true);

	copy(state_estimate, dot1, 4, 1);

	zero(dot1, 4, 4);
	zero(dot2, 4, 2);

	transpose(transpose1, A, 4, 4);
	dotProduct(dot3, P, 4, 4, transpose1, 4, 4);
	dotProduct(dot4, A, 4, 4, dot3, 4, 4);
	addMatrices(dot4, Q, 4, 4, true);
	copy(P, dot4, 4, 4);

	zero(dot3, 4, 4);
	zero(dot4, 4, 4);
	zero(transpose1, 4, 4);

	measurement[0][0] = accelRoll;
	measurement[1][0] = accelPitch;

	//Corrupted from state_estimate
	dotProduct(dot5, C, 2, 4, state_estimate, 4, 1);
	addMatrices(y_tilde, dot5, 2, 1, false);
	addMatrices(y_tilde, measurement, 2, 1, true);

	zero(dot5, 2, 1);

	//printf("---%d---\n", count);
	//printMatrix(y_tilde, 2, 1);

	//Not corrupted
	transpose(transpose2, C, 2, 4);

	//Corrupted from P
	//dot6 is a 4x2
	dotProduct(dot6, P, 4, 4, transpose2, 4, 2);

	zero(transpose2, 4, 2);

	//Corrupted from dot6
	dotProduct(dot7, C, 2, 4, dot6, 4, 2);

	zero(dot6, 4, 2);

	//dot7 is a 2x2
	S[0][0] = R[0][0] + dot7[0][0];
	S[0][1] = R[0][1] + dot7[0][1];
	S[1][0] = R[1][0] + dot7[1][0];
	S[1][1] = R[1][1] + dot7[1][1];

	zero(dot7, 2, 2);

	inverse2X2(S, inverse1);
	transpose(transpose3, C, 2, 4);
	//dot8 is a 4x2
	dotProduct(dot8, transpose3, 4, 2, inverse1, 2, 2);

	zero(inverse1, 2, 2);
	zero(transpose3, 4, 2);

	//K is a 4x2
	dotProduct(K, P, 4, 4, dot8, 4, 2);
	//dot9 is a 4x1

	//State estimate messes up measurement
	dotProduct(dot9, K, 4, 2, y_tilde, 2, 1);
	
	addMatrices(state_estimate, dot9, 4, 1, true);

	zero(dot8, 4, 2);
	zero(dot9, 4, 1);

	//dot10 is a 4x4
	dotProduct(dot10, K, 4, 2, C, 2, 4);
	
	identity(intermediary_identity, 4);
	addMatrices(intermediary_identity, dot10, 4, 4, false);
	//dot11 is a 4x4
	dotProduct(dot11, intermediary_identity, 4, 4, P, 4, 4);
	zero(intermediary_identity, 4, 4);

	copy(P, dot11, 4, 4);

	zero(dot10, 4, 4);
	zero(dot11, 4, 4);
	zero(y_tilde, 2, 1);
	zero(K, 4, 2);

	*roll = state_estimate[0][0];
	*pitch = state_estimate[2][0];
}
```

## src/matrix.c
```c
#include "matrix.h"

void initialize(float*** matrix, int height, int width)
{
   *matrix = (float **)calloc(height, sizeof(float *));
   for(int i = 0; i < height; i++) {
        (*matrix)[i] = (float *)calloc(width, sizeof(float));
   }
}

void identity(float** matrix, int dim){
	for(int i = 0; i < dim; i++){
		matrix[i][i] = 1;
	}
}

void addMatrices(float** matrix1, float** matrix2, int height, int width, bool positive){
	int factor;
	if(positive){
		factor = 1;
	} else{
		factor = -1;
	}

	for(int i = 0; i < height; i++){
		for(int j = 0; j < width; j++){
			matrix1[i][j] += factor * matrix2[i][j];
		}
	}
}

bool dotProduct(float** resultant, float** matrix1, int height1, int width1, float** matrix2, int height2, int width2){
	if(width1 != height2){
		return false;
	}

	for(int i = 0; i < height1; i++){
		for(int j = 0; j < width2; j++){
			for(int k = 0; k < width1; k++){
				resultant[i][j] += matrix1[i][k] * matrix2[k][j];
			}
		}
	}

	return true;
}

void transpose(float** resultant, float** matrix, int height, int width){
	for(int i = 0; i < height; i++){
		for(int j = 0; j < width; j++){
			resultant[j][i] = matrix[i][j];
		}
	}
}


void printMatrix(float** matrix, int height, int width){
	for(int i = 0; i < height; i++){
		for(int j = 0; j < width; j++){
			printk("%f ", matrix[i][j]);
		}
		printk("\n");
	}
}

void inverse2X2(float** matrix, float** resultant){
	float a = matrix[0][0];
	float b = matrix[0][1];
	float c = matrix[1][0];
	float d = matrix[1][1];

	float factor = 1 / ( a * d - b * c );
	resultant[0][0] = d * factor;
	resultant[0][1] = -b * factor;
	resultant[1][0] = -c * factor;
	resultant[1][1] = a * factor;
}

void zero(float** matrix, int height, int width){
	for(int i = 0; i < height; i++){
		for(int j = 0; j < width; j++){
			matrix[i][j] = 0;
		}
	}
}

void copy(float** matrix1, float** matrix2, int height, int width){
	for(int i = 0; i < height; i++){
		for(int j = 0; j < width; j++){
			matrix1[i][j] = matrix2[i][j];
		}
	}
}
```
